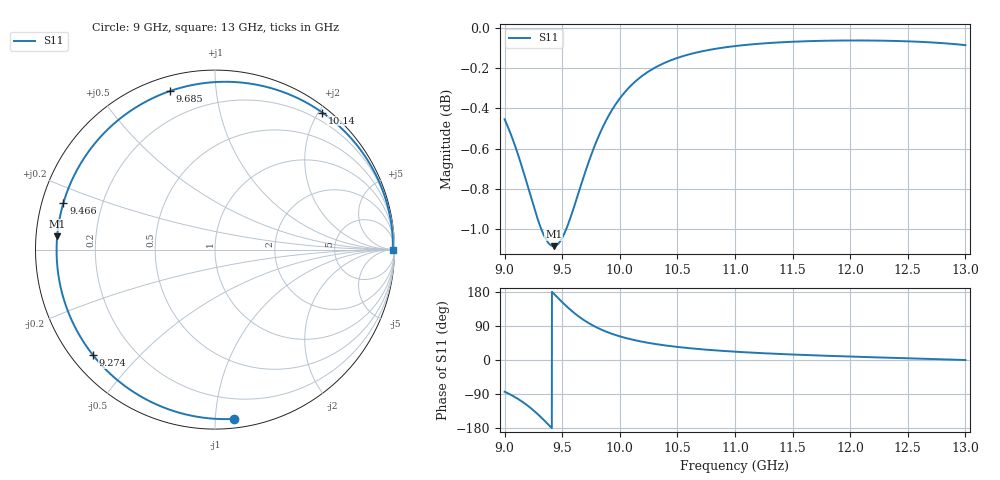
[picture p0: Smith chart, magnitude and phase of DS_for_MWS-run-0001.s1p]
! TOUCHSTONE file generated by CST DESIGN STUDIO
! Date and time: Tue Feb  4 17:25:04 2025
! Project name: C:\Work\MatlabApps\UnitCellOptimizationMatlab\CST\unitcell.cst
! Tree item: Tasks\Sweep1\SPara1\S-Parameters
! Header version: 2024
! Port assignment regex: !\s*Touchstone port\s*([0-9]+)\s*=\s*(CST MWS port|CST DES external port|CST DES block port)\s*(.+)\s* \(\"(.*)\"\)(\s*mode\s*([0-9]+))?.*
! Touchstone port assignment:
! Touchstone port 1 = CST DES external port 1 ("")
# GHz S MA R 50
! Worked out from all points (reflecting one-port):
!   4001 points, 9 GHz to 13 GHz, reference 50 ohm
!   lowest |S11| = -1.1 dB at 9.426 GHz (marker M1), VSWR 16.02, Z = 3.13 + j2.07 ohm
!   phase of S11 starts at -84 deg and turns -276 deg over the sweep
!   S11 on the Smith chart (normalised r, x): 9 GHz: 0.06, -1.11; 9.274 GHz: 0.06, -0.37; 9.466 GHz: 0.06, +0.15; 9.685 GHz: 0.07, +0.75; 10.14 GHz: 0.08, +2.05; 13 GHz: open
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9  0.949 -83.7
9.081  0.9364 -96.3
9.15  0.9236 -109.4
9.213  0.9108 -123.5
9.274  0.8987 -139.2
9.316  0.8915 -151.1
9.354  0.8865 -162.4
9.39  0.8835 -173.5
9.426  0.8825 175.2
9.466  0.8838 162.9
9.5  0.8867 152.6
9.546  0.8928 139.4
9.591  0.9004 127.5
9.637  0.909 116.3
9.685  0.918 106.0
9.755  0.9304 93.0
9.839  0.943 80.3
9.917  0.9525 70.7
10  0.9604 62.4
10.136  0.9699 51.9
10.3  0.9773 42.6
10.5  0.983 34.5
10.723  0.9868 27.9
11  0.9897 21.9
11.5  0.9921 14.5
12  0.9928 9.1
12.5  0.9923 4.5
13  0.9902 -0.0
